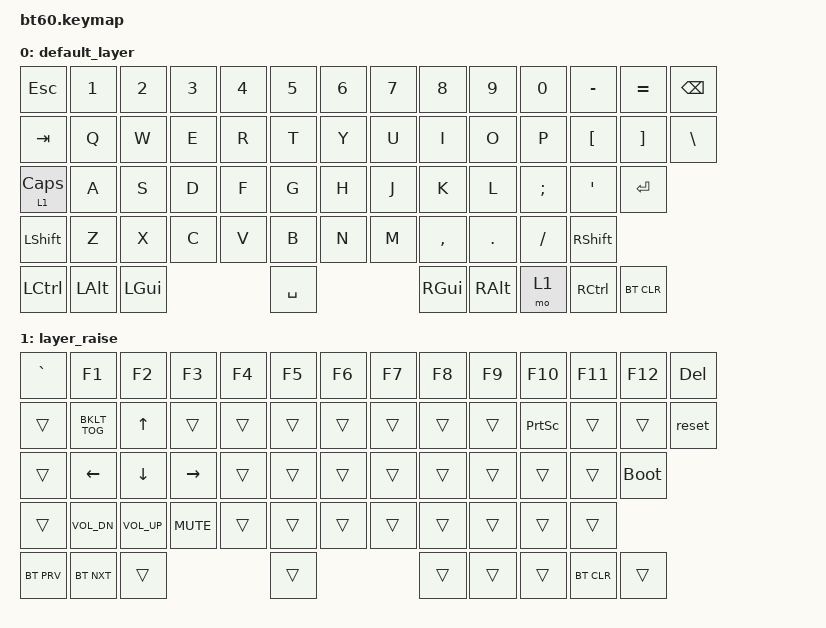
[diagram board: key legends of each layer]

/*
 * Copyright (c) 2020 The ZMK Contributors
 *
 * SPDX-License-Identifier: MIT
 */


/* THIS FILE WAS GENERATED!
 *
 * This file was generated automatically. You may or may not want to
 * edit it directly.
 */

#include <behaviors.dtsi>
#include <dt-bindings/zmk/keys.h>

#include <dt-bindings/zmk/bt.h>

/ {
    keymap {
        compatible = "zmk,keymap";


        default_layer {
            bindings = <
   &kp ESC        &kp N1    &kp N2    &kp N3     &kp N4    &kp N5            &kp N6       &kp N7     &kp N8      &kp N9    &kp N0     &kp MINUS  &kp EQUAL  &kp BSPC
   &kp TAB        &kp Q     &kp W     &kp E      &kp R     &kp T             &kp Y        &kp U      &kp I       &kp O     &kp P      &kp LBKT   &kp RBKT  &kp BSLH
   &lt 1 CAPS     &kp A     &kp S     &kp D      &kp F     &kp G             &kp H        &kp J      &kp K       &kp L     &kp SEMI   &kp SQT    &kp RET
   &kp LSHFT      &kp Z     &kp X     &kp C      &kp V     &kp B             &kp N        &kp M      &kp COMMA   &kp DOT   &kp FSLH   &kp RSHFT
   &kp LCTRL      &kp LALT  &kp LGUI                              &kp SPACE                          &kp RGUI    &kp RALT  &mo 1      &kp RCTRL  &bt BT_CLR
            >;
        };

        layer_raise {
            bindings = <
   &kp GRAVE        &kp F1          &kp F2        &kp F3  &kp F4       &kp F5            &kp F6   &kp F7      &kp F8    &kp F9    &kp F10     &kp F11    &kp F12  &kp DEL
   &trans           &kp C_BKLT_TOG  &kp UP        &trans  &trans       &trans            &trans   &trans      &trans    &trans    &kp PSCRN   &trans     &trans   &reset
   &trans           &kp LEFT        &kp DOWN      &kp RIGHT  &trans    &trans            &trans   &trans      &trans    &trans    &trans      &trans     &bootloader
   &trans           &kp C_VOL_DN    &kp C_VOL_UP  &kp C_MUTE  &trans   &trans            &trans   &trans      &trans    &trans    &trans      &trans
   &bt BT_PRV       &bt BT_NXT      &trans                           &trans                       &trans      &trans    &trans    &bt BT_CLR  &trans
            >;
        };

    };
};
